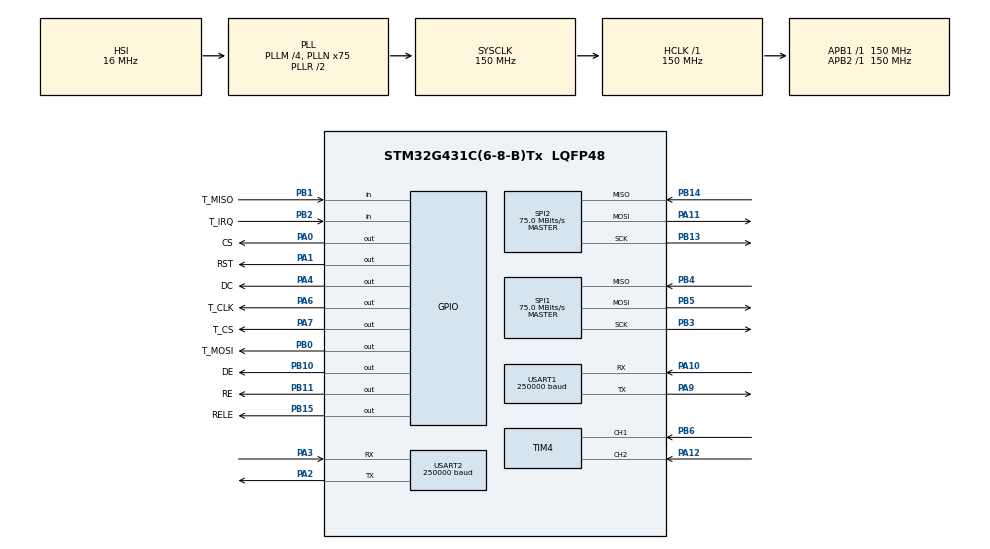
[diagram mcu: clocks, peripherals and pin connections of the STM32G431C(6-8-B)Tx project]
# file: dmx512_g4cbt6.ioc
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Mcu.Family=STM32G4
Mcu.Name=STM32G431C(6-8-B)Tx
Mcu.Package=LQFP48
NVIC.PriorityGroup=NVIC_PRIORITYGROUP_4
NVIC.TIM3_IRQn=true\:0\:0\:false\:false\:true\:true\:true\:true
NVIC.TIM6_DAC_IRQn=true\:0\:0\:false\:false\:true\:true\:true\:true
NVIC.TIM7_IRQn=true\:0\:0\:false\:false\:true\:true\:true\:true
NVIC.USART1_IRQn=true\:0\:0\:false\:false\:true\:true\:true\:true
NVIC.USART2_IRQn=true\:0\:0\:false\:false\:true\:true\:true\:true
PA0.GPIO_Label=CS
PA0.GPIO_Speed=GPIO_SPEED_FREQ_VERY_HIGH
PA0.Signal=GPIO_Output
PA1.GPIO_Label=RST
PA1.GPIO_Speed=GPIO_SPEED_FREQ_VERY_HIGH
PA1.Signal=GPIO_Output
PA10.GPIO_Speed=GPIO_SPEED_FREQ_MEDIUM
PA10.Mode=Asynchronous
PA10.Signal=USART1_RX
PA11.Mode=Full_Duplex_Master
PA11.Signal=SPI2_MOSI
PA12.Signal=S_TIM4_CH2
PA13.Mode=Serial_Wire
PA13.Signal=SYS_JTMS-SWDIO
PA14.Mode=Serial_Wire
PA14.Signal=SYS_JTCK-SWCLK
PA2.GPIO_PuPd=GPIO_NOPULL
PA2.GPIO_Speed=GPIO_SPEED_FREQ_MEDIUM
PA2.Mode=Asynchronous
PA2.Signal=USART2_TX
PA3.GPIO_PuPd=GPIO_NOPULL
PA3.GPIO_Speed=GPIO_SPEED_FREQ_MEDIUM
PA3.Mode=Asynchronous
PA3.Signal=USART2_RX
PA4.GPIO_Label=DC
PA4.GPIO_Speed=GPIO_SPEED_FREQ_VERY_HIGH
PA4.Signal=GPIO_Output
PA6.GPIO_Label=T_CLK
PA6.GPIO_Speed=GPIO_SPEED_FREQ_VERY_HIGH
PA6.Signal=GPIO_Output
PA7.GPIO_Label=T_CS
PA7.Signal=GPIO_Output
PA9.GPIO_Speed=GPIO_SPEED_FREQ_MEDIUM
PA9.Mode=Asynchronous
PA9.Signal=USART1_TX
PB0.GPIO_Label=T_MOSI
PB0.GPIO_Speed=GPIO_SPEED_FREQ_VERY_HIGH
PB0.Signal=GPIO_Output
PB1.GPIO_Label=T_MISO
PB1.Signal=GPIO_Input
PB10.GPIO_Label=DE
PB10.Signal=GPIO_Output
PB11.GPIO_Label=RE
PB11.Signal=GPIO_Output
PB12.Signal=SPI2_NSS
PB13.Mode=Full_Duplex_Master
PB13.Signal=SPI2_SCK
PB14.Mode=Full_Duplex_Master
PB14.Signal=SPI2_MISO
PB15.GPIO_Label=RELE
PB15.Signal=GPIO_Output
PB2.GPIO_Label=T_IRQ
PB2.Signal=GPIO_Input
PB3.GPIO_Speed=GPIO_SPEED_FREQ_HIGH
PB3.Mode=Full_Duplex_Master
PB3.Signal=SPI1_SCK
PB4.GPIO_Speed=GPIO_SPEED_FREQ_HIGH
PB4.Mode=Full_Duplex_Master
PB4.Signal=SPI1_MISO
PB5.GPIO_Speed=GPIO_SPEED_FREQ_HIGH
PB5.Mode=Full_Duplex_Master
PB5.Signal=SPI1_MOSI
PB6.Signal=S_TIM4_CH1
PF0-OSC_IN.Mode=HSE-External-Oscillator
PF0-OSC_IN.Signal=RCC_OSC_IN
PF1-OSC_OUT.Mode=HSE-External-Oscillator
PF1-OSC_OUT.Signal=RCC_OSC_OUT
ProjectManager.HeapSize=0x200
ProjectManager.StackSize=0x400
ProjectManager.TargetToolchain=STM32CubeIDE
RCC.ADC12Freq_Value=150000000
RCC.AHBFreq_Value=150000000
RCC.APB1Freq_Value=150000000
RCC.APB1TimFreq_Value=150000000
RCC.APB2Freq_Value=150000000
RCC.APB2TimFreq_Value=150000000
RCC.CortexFreq_Value=150000000
RCC.EXTERNAL_CLOCK_VALUE=12288000
RCC.HCLKFreq_Value=150000000
RCC.HSE_VALUE=8000000
RCC.HSI48_VALUE=48000000
RCC.HSI_VALUE=16000000
RCC.LSE_VALUE=32768
RCC.PLLM=RCC_PLLM_DIV4
RCC.PLLN=75
RCC.SYSCLKFreq_VALUE=150000000
RCC.SYSCLKSource=RCC_SYSCLKSOURCE_PLLCLK
RCC.USBFreq_Value=150000000
RCC.VCOOutputFreq_Value=300000000
SH.S_TIM4_CH1.0=TIM4_CH1,Encoder_Interface
SH.S_TIM4_CH2.0=TIM4_CH2,Encoder_Interface
SPI1.CalculateBaudRate=75.0 MBits/s
SPI1.DataSize=SPI_DATASIZE_8BIT
SPI1.Direction=SPI_DIRECTION_2LINES
SPI1.Mode=SPI_MODE_MASTER
SPI1.VirtualType=VM_MASTER
SPI2.CalculateBaudRate=75.0 MBits/s
SPI2.Direction=SPI_DIRECTION_2LINES
SPI2.Mode=SPI_MODE_MASTER
SPI2.VirtualType=VM_MASTER
TIM3.PeriodNoDither=22
TIM3.Prescaler=100
TIM6.PeriodNoDither=200
TIM6.Prescaler=100
TIM7.PeriodNoDither=100
TIM7.Prescaler=100
USART1.BaudRate=250000
USART1.StopBits=STOPBITS_2
USART1.VirtualMode-Asynchronous=VM_ASYNC
USART2.AutoBaudRateEnableParam=UART_ADVFEATURE_AUTOBAUDRATE_DISABLE
USART2.BaudRate=250000
USART2.StopBits=STOPBITS_2
USART2.VirtualMode-Asynchronous=VM_ASYNC
VP_SYS_VS_DBSignals.Mode=DisableDeadBatterySignals
VP_TIM3_VS_ClockSourceINT.Mode=Internal
VP_TIM6_VS_ClockSourceINT.Mode=Enable_Timer
VP_TIM7_VS_ClockSourceINT.Mode=Enable_Timer
board=custom

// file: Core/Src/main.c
/* USER CODE BEGIN Header */
/**
  ******************************************************************************
  * @file           : main.c
  * @brief          : Main program body
  ******************************************************************************
  * @attention
  *
  * Copyright (c) 2024 STMicroelectronics.
  * All rights reserved.
  *
  * This software is licensed under terms that can be found in the LICENSE file
  * in the root directory of this software component.
  * If no LICENSE file comes with this software, it is provided AS-IS.
  *
  ******************************************************************************
  */
/* USER CODE END Header */
#include "main.h"
#include "spi.h"
#include "tim.h"
#include "usart.h"
#include "gpio.h"

/* USER CODE BEGIN Includes */
#include "ILI9341_Touchscreen.h"
#include "ILI9341_STM32_Driver.h"
#include "ILI9341_GFX.h"
/* USER CODE END Includes */

void SystemClock_Config(void);

/* USER CODE BEGIN 0 */
volatile uint8_t receiveBuff[514]; //Paket přijatý z RS485/PC
volatile uint8_t sendToPC[520]; //paket pro zpracování PC aplikací
volatile uint8_t sendToDMX[513]; //standardní paket na RS485 rozhraní
uint8_t packetsSentAfterStart=0; //přepsat na uint8_t
int toReceive=514; //přepsat na uint16_t
uint8_t receiveMode=5;
UART_HandleTypeDef *uartRx; //výběr přijímacího uartu
uint8_t menuNav;
uint16_t valueOffset;
char str[10];
uint8_t sendingToDMX;

//Displej:
//int xmin;
//int xmax;
//int ymin;
//int ymax;
/* USER CODE END 0 */

int main(void)
{

  /* USER CODE BEGIN 1 */
	for(int i=0;i<514;i++)
		{
			receiveBuff[i]=0;
		}

	for(int i=0;i<520;i++)
		{
			sendToPC[i]=0;
		}
	sendToPC[0]=121; //Nastavení vlastního protokolu
	sendToPC[1]=122;
	sendToPC[518]=131;
	sendToPC[519]=132;

	for(int i=0;i<513;i++)
		{
			sendToDMX[i]=0;
		}

  /* USER CODE END 1 */

  /* MCU Configuration--------------------------------------------------------*/

  /* Reset of all peripherals, Initializes the Flash interface and the Systick. */
  HAL_Init();

  /* Configure the system clock */
  SystemClock_Config();

  /* Initialize all configured peripherals */
  MX_GPIO_Init();
  MX_SPI1_Init();
  MX_SPI2_Init();
  MX_TIM4_Init();
  MX_USART1_UART_Init();
  MX_USART2_UART_Init();
  MX_TIM6_Init();
  MX_TIM7_Init();
  MX_TIM3_Init();
  /* USER CODE BEGIN 2 */
  //ReceiveFrom_PC();
  //ReceiveFrom_DMX();
  ILI9341_Init();
  stopAll();
  uint16_t position_array[2];

  Draw_MainMenu1_Horizontal();
  menuNav=1;
  /* USER CODE END 2 */

  /* Infinite loop */
  /* USER CODE BEGIN WHILE */
while (1)
	{
	if(TP_Touchpad_Pressed())
	{
		uint16_t x_pos = 0;
		uint16_t y_pos = 0;

		if(TP_Read_Coordinates(position_array) == TOUCHPAD_DATA_OK)
		{
			x_pos = -(position_array[1]-320);
			y_pos = position_array[0];

			if(x_pos>250&&y_pos>205&&x_pos<320&&y_pos<240&&menuNav==1) //Vpřed MainMenu
			{
				Draw_MainMenu2_Horizontal();
			}
			if(x_pos>0&&y_pos>205&&x_pos<70&&y_pos<240&&menuNav==2) //Zpátky MainMenu
			{
				Draw_MainMenu1_Horizontal();
			}
			if(x_pos>20&&y_pos>29&&x_pos<300&&y_pos<79&&menuNav==1)
			{
				menuNav=3;
				ILI9341_Fill_Screen(DARKGREY);
				Draw_NavigationBar_Left_Horizontal();
				ILI9341_Draw_Text("Analyza signalu", 3, 1, BLACK, 2, DARKGREY);
				ILI9341_Draw_Text("Rezim analyzy je zapnuty,", 5, 60, BLACK, 2, RED);
				ILI9341_Draw_Text("Pokracujte v PC aplikaci", 5, 85, BLACK, 2, RED);
				setTo_Analyze();
			}
			if(x_pos>20&&y_pos>85&&x_pos<300&&y_pos<135&&menuNav==1)
			{
				menuNav=3;
				ILI9341_Fill_Screen(DARKGREY);
				Draw_NavigationBar_Left_Horizontal();
				ILI9341_Draw_Text("Generovani signalu", 3, 1, BLACK, 2, DARKGREY);
				ILI9341_Draw_Text("Rezim generovani", 5, 60, BLACK, 2, RED);
				ILI9341_Draw_Text("je zapnuty,", 5, 80, BLACK, 2, RED);
				ILI9341_Draw_Text("Pokracujte v PC aplikaci", 5, 105, BLACK, 2, RED);
				setTo_GenerateOnPC();
			}
			if(x_pos>20&&y_pos>141&&x_pos<300&&y_pos<191&&menuNav==1)
			{
				menuNav=3;
				ILI9341_Fill_Screen(DARKGREY);
				Draw_NavigationBar_Left_Horizontal();
				ILI9341_Draw_Text("Modifikace signalu", 3, 1, BLACK, 2, DARKGREY);
				ILI9341_Draw_Text("Rezim modifikace", 5, 60, BLACK, 2, RED);
				ILI9341_Draw_Text("je zapnuty,", 5, 80, BLACK, 2, RED);
				ILI9341_Draw_Text("PC aplikace", 5, 105, BLACK, 2, RED);
				ILI9341_Draw_Text("jej zatim nepodporuje", 5, 125, BLACK, 2, RED);
				setTo_Modification();
			}
			if(x_pos>20&&y_pos>29&&x_pos<300&&y_pos<79&&menuNav==2) //Manualni ovladani page1
			{
				valueOffset=0;
				ILI9341_Fill_Screen(LIGHTGREY);
				Draw_NavigationBar_Left_Horizontal();
				ILI9341_Draw_Text("Manualni analyza", 3, 1, BLACK, 2, LIGHTGREY);
				Draw_NavigationBar_Right_Horizontal();
				char page[7];
				sprintf(page, " %d/29 ", valueOffset+1);
				ILI9341_Draw_Text(page, 136, 220, BLACK, 2, LIGHTGREY);
				menuNav=5;
				setTo_AnalyzeLocally();
			}
			if(x_pos>250&&y_pos>205&&x_pos<320&&y_pos<240&&menuNav==5) //Manualni ovladani page2-29
			{
				if(valueOffset<495)
				{
					valueOffset+=18;
					ILI9341_Draw_Text("     ", 140, 195, BLACK, 2, LIGHTGREY);
					char page[7];
					sprintf(page, " %d/29 ", valueOffset/18+1);
					ILI9341_Draw_Text(page, 133, 220, BLACK, 2, LIGHTGREY);
					HAL_Delay(90);
				}
				else
				{
					ILI9341_Fill_Screen(LIGHTGREY);
					Draw_NavigationBar_Left_Horizontal();
					ILI9341_Draw_Text("Manualni analyza", 3, 1, BLACK, 2, LIGHTGREY);
					//Draw_NavigationBar_Right_Horizontal(); //smazat
					char page[7];
					sprintf(page, " %d/29 ", valueOffset/18+1);
					ILI9341_Draw_Text(page, 133, 220, BLACK, 2, LIGHTGREY);
					HAL_Delay(90);
				}
			}
			if(x_pos>20&&y_pos>85&&x_pos<300&&y_pos<135&&menuNav==2)
			{
				menuNav=10;
				ILI9341_Fill_Screen(DARKGREY);
				Draw_NavigationBar_Left_Horizontal();
				ILI9341_Draw_Text("Manualni generovani", 3, 1, BLACK, 2, DARKGREY);
				ILI9341_Draw_Rectangle(20,40,80,80,RED);
				ILI9341_Draw_Rectangle(120,40,80,80,GREEN);
				ILI9341_Draw_Rectangle(220,40,80,80,BLUE);
				setTo_GenerateLocally();
				HAL_Delay(300);
			}
			if(x_pos>0&&y_pos>205&&x_pos<70&&y_pos<240&&menuNav==3) //Zpátky do page1 menu z podmenu
			{
				menuNav=1;
				Draw_MainMenu1_Horizontal();
				stopAll();
			}
			if(x_pos>0&&y_pos>205&&x_pos<70&&y_pos<240&&menuNav==4) //Zpátky do page2 menu z podmenu
			{
				menuNav=2;
				Draw_MainMenu2_Horizontal();
				stopAll();
			}
			if(x_pos>0&&y_pos>205&&x_pos<70&&y_pos<240&&menuNav==10) //Zpátky do page2 menu z podmenu
			{
				menuNav=2;
				Draw_MainMenu2_Horizontal();
				stopAll();
			}
			if(x_pos>20&&y_pos>40&&x_pos<100&&y_pos<120&&menuNav==10) //BarvaRed v manualnim generovani
			{
				ILI9341_Draw_Hollow_Rectangle_Coord(18,38,101,121,BLACK);
				ILI9341_Draw_Hollow_Rectangle_Coord(118,38,201,121,DARKGREY);
				ILI9341_Draw_Hollow_Rectangle_Coord(218,38,301,121,DARKGREY);
				sendToDMX[1]=255;
				sendToDMX[2]=255;
				sendToDMX[3]=0;
				sendToDMX[4]=0;
			}
			if(x_pos>120&&y_pos>40&&x_pos<200&&y_pos<120&&menuNav==10) //BarvaGreen v manualnim generovani
			{
				ILI9341_Draw_Hollow_Rectangle_Coord(18,38,101,121,DARKGREY);
				ILI9341_Draw_Hollow_Rectangle_Coord(118,38,201,121,BLACK);
				ILI9341_Draw_Hollow_Rectangle_Coord(218,38,301,121,DARKGREY);
				sendToDMX[1]=255;
				sendToDMX[2]=0;
				sendToDMX[3]=255;
				sendToDMX[4]=0;
			}
			if(x_pos>220&&y_pos>40&&x_pos<300&&y_pos<120&&menuNav==10) //BarvaBlue v manualnim generovani
			{
				ILI9341_Draw_Hollow_Rectangle_Coord(18,38,101,121,DARKGREY);
				ILI9341_Draw_Hollow_Rectangle_Coord(118,38,201,121,DARKGREY);
				ILI9341_Draw_Hollow_Rectangle_Coord(218,38,301,121,BLACK);
				sendToDMX[1]=255;
				sendToDMX[2]=0;
				sendToDMX[3]=0;
				sendToDMX[4]=255;
			}
			if(x_pos>0&&y_pos>205&&x_pos<70&&y_pos<240&&menuNav==5) //Zpátky SUB menu
						{
							if(valueOffset==0)
							{
								menuNav=2;
								Draw_MainMenu2_Horizontal();
								stopAll();
							}
							else
							{
								valueOffset-=18;
								char page[7];
								sprintf(page, " %d/29 ", valueOffset/18+1);
								ILI9341_Draw_Text(page, 133, 220, BLACK, 2, LIGHTGREY);
								HAL_Delay(90);
								//stopAll();
							}
						}
	  }
}

    /* USER CODE END WHILE */

  }
}

void SystemClock_Config(void)
{
  RCC_OscInitTypeDef RCC_OscInitStruct = {0};
  RCC_ClkInitTypeDef RCC_ClkInitStruct = {0};

  /** Configure the main internal regulator output voltage
  */
  HAL_PWREx_ControlVoltageScaling(PWR_REGULATOR_VOLTAGE_SCALE1);

  /** Initializes the RCC Oscillators according to the specified parameters
  * in the RCC_OscInitTypeDef structure.
  */
  RCC_OscInitStruct.OscillatorType = RCC_OSCILLATORTYPE_HSI;
  RCC_OscInitStruct.HSIState = RCC_HSI_ON;
  RCC_OscInitStruct.HSICalibrationValue = RCC_HSICALIBRATION_DEFAULT;
  RCC_OscInitStruct.PLL.PLLState = RCC_PLL_ON;
  RCC_OscInitStruct.PLL.PLLSource = RCC_PLLSOURCE_HSI;
  RCC_OscInitStruct.PLL.PLLM = RCC_PLLM_DIV4;
  RCC_OscInitStruct.PLL.PLLN = 75;
  RCC_OscInitStruct.PLL.PLLP = RCC_PLLP_DIV2;
  RCC_OscInitStruct.PLL.PLLQ = RCC_PLLQ_DIV2;
  RCC_OscInitStruct.PLL.PLLR = RCC_PLLR_DIV2;
  if (HAL_RCC_OscConfig(&RCC_OscInitStruct) != HAL_OK)
  {
    Error_Handler();
  }

  /** Initializes the CPU, AHB and APB buses clocks
  */
  RCC_ClkInitStruct.ClockType = RCC_CLOCKTYPE_HCLK|RCC_CLOCKTYPE_SYSCLK
                              |RCC_CLOCKTYPE_PCLK1|RCC_CLOCKTYPE_PCLK2;
  RCC_ClkInitStruct.SYSCLKSource = RCC_SYSCLKSOURCE_PLLCLK;
  RCC_ClkInitStruct.AHBCLKDivider = RCC_SYSCLK_DIV1;
  RCC_ClkInitStruct.APB1CLKDivider = RCC_HCLK_DIV1;
  RCC_ClkInitStruct.APB2CLKDivider = RCC_HCLK_DIV1;

  if (HAL_RCC_ClockConfig(&RCC_ClkInitStruct, FLASH_LATENCY_4) != HAL_OK)
  {
    Error_Handler();
  }
}

/* USER CODE BEGIN 4 */
void SwitchToTransmit()
{
	HAL_GPIO_WritePin(GPIOB, GPIO_PIN_15, GPIO_PIN_SET);
}
void SwitchToReceiveOnly()
{
	HAL_GPIO_WritePin(GPIOB, GPIO_PIN_15, GPIO_PIN_RESET);
}
void HAL_UARTEx_RxEventCallback(UART_HandleTypeDef *huart, uint16_t Size) //Po prijmuti celeho paketu:
{
	//Ukladani dat pro vysilani na DMX512 na zaklade toho, odkud byly prijate
	if(receiveMode==1) //Z PC do DMX
	{
		memcpy(sendToDMX, receiveBuff, 513 * sizeof(uint8_t)); //TODO: Vymyslet možnost bez kopírování (změna buffu přímo v čtecích příkazech, pointerem); bylo by využitelné pouze pro tuto funkci -> tudíž to nemá smysl (asi by to nebylo přehlednější)
	}
	else if(receiveMode==2)//receiveMode==2 //Z DMX do DMX
	{
		/*for(int i=0; i<513; i++) //Pro UART2 příjem (vyzkoušet pak s jinými pulty)
		{
			sendToDMX[i]=receiveBuff[i+1]; //+1 pro uart2 TODO:memcpy(&a1[50], &a2[50], 10 * sizeof a[0]);
		}*/
		memcpy(&sendToDMX[0], &receiveBuff[1], 513 * sizeof(uint8_t));
	}
	HAL_UARTEx_ReceiveToIdle_IT(uartRx, receiveBuff, toReceive);
	if(menuNav==5) //GUI
	{
		if(valueOffset<495)
		{

			for(int a=0;a<16;a+=3)
			{
				sprintf(str, "%d:%d  ", valueOffset+1+a, receiveBuff[valueOffset+2+a]);
				ILI9341_Draw_Text(str, 5, 20+(a*10), BLACK, 2, LIGHTGREY);
				sprintf(str, "%d:%d  ", valueOffset+2+a, receiveBuff[valueOffset+3+a]);
				ILI9341_Draw_Text(str, 120, 20+(a*10), BLACK, 2, LIGHTGREY);
				sprintf(str, "%d:%d  ", valueOffset+3+a, receiveBuff[valueOffset+4+a]);
				ILI9341_Draw_Text(str, 230, 20+(a*10), BLACK, 2, LIGHTGREY);
			}
		}
		else
		{
			for(int a=0;a<6;a+=3)
			{
				sprintf(str, "%d:%d  ", valueOffset+1+a, receiveBuff[valueOffset+2+a]);
				ILI9341_Draw_Text(str, 5, 20+(a*10), BLACK, 2, LIGHTGREY);
				sprintf(str, "%d:%d  ", valueOffset+2+a, receiveBuff[valueOffset+3+a]);
				ILI9341_Draw_Text(str, 120, 20+(a*10), BLACK, 2, LIGHTGREY);
				sprintf(str, "%d:%d  ", valueOffset+3+a, receiveBuff[valueOffset+4+a]);
				ILI9341_Draw_Text(str, 230, 20+(a*10), BLACK, 2, LIGHTGREY);
			}
			sprintf(str, "%d:%d  ", 511, receiveBuff[512]);
			ILI9341_Draw_Text(str, 5, 20+(6*10), BLACK, 2, LIGHTGREY);
			sprintf(str, "%d:%d  ", 512, receiveBuff[513]);
			ILI9341_Draw_Text(str, 120, 20+(6*10), BLACK, 2, LIGHTGREY);
			ILI9341_Draw_Text("       ", 230, 20+(6*10), BLACK, 2, LIGHTGREY);
			for(int a=9;a<16;a+=3)
			{
				ILI9341_Draw_Text("       ", 5, 20+(a*10), BLACK, 2, LIGHTGREY);
				ILI9341_Draw_Text("       ", 120, 20+(a*10), BLACK, 2, LIGHTGREY);
				ILI9341_Draw_Text("       ", 230, 20+(a*10), BLACK, 2, LIGHTGREY);
			}
		}
		if(valueOffset==0)
		{
			sprintf(str, "%d:%d  ", 0, receiveBuff[1]);
			ILI9341_Draw_Text(str, 140, 195, BLACK, 2, LIGHTGREY);
		}
	}
}
void HAL_UART_TxCpltCallback(UART_HandleTypeDef *huart) //Po odeslání -- pokud uart2 -> přepnout na IDLE; pokud uart 1 -> nic
{

	if(huart==&huart2&&sendingToDMX==1)
	{
		if(packetsSentAfterStart<10) //ošetřuje chybu kdy po prvním startu odešle signál ve stavu tak, že ho druhá deska nenajde -> odesílá prvních 10 paketů v blokovacím režimu; netýkalo se rozpojení a zapojení signálu
		{
			SwitchPin_ToMode_GPIO_Output();
			HAL_GPIO_WritePin(GPIOA, GPIO_PIN_2,GPIO_PIN_SET);
			uint32_t i;
			i=1000;
			while(i--); //MBB - v blokovacím režimu
			HAL_UARTEx_ReceiveToIdle_IT(uartRx, receiveBuff, toReceive); //Aby se přijímal sinál i se spuštěním zařízení a po zapojení kabelu
			//HAL_GPIO_WritePin(GPIOA, GPIO_PIN_2,GPIO_PIN_SET);
			HAL_GPIO_WritePin(GPIOA, GPIO_PIN_2,GPIO_PIN_RESET);
			HAL_TIM_Base_Start_IT(&htim6);
			packetsSentAfterStart++;
		}
		else //Pro všechny další chody v neblokovacím režimu
		{
			SwitchPin_ToMode_GPIO_Output();
			HAL_GPIO_WritePin(GPIOA, GPIO_PIN_2,GPIO_PIN_SET); //Tvoří MBB
			HAL_TIM_Base_Start_IT(&htim7);
			HAL_UARTEx_ReceiveToIdle_IT(uartRx, receiveBuff, 514); //Aby se přijímal sinál i se spuštěním zařízení a po zapojení kabelu
		}
	}
}
void HAL_TIM_PeriodElapsedCallback(TIM_HandleTypeDef* htim) //Po doběhnutí časovače
{
	if(htim==&htim6)
	{
		//uint32_t i;
		HAL_TIM_Base_Stop_IT(&htim6);
		HAL_GPIO_WritePin(GPIOA, GPIO_PIN_2,GPIO_PIN_SET);
		//Zde se vytváří MAB

		HAL_TIM_Base_Start_IT(&htim3);

	}
	else if(htim==&htim7)
	{
		HAL_TIM_Base_Stop_IT(&htim7);
		HAL_GPIO_WritePin(GPIOA, GPIO_PIN_2,GPIO_PIN_RESET);
		HAL_TIM_Base_Start_IT(&htim6);
	}
	else if(htim==&htim3)
	{
		HAL_TIM_Base_Stop_IT(&htim3);
		SwitchPin_ToMode_UART();
		HAL_UART_Transmit_IT(&huart2, sendToDMX, 513); //TODO: sizeof(receiveBuff)
		if(receiveMode==3)
		{
			memcpy(&sendToPC[2], &receiveBuff[1], 513 * sizeof(uint8_t)); //kopírování
			HAL_UART_Transmit_IT(&huart1, sendToPC, 520); //Odeslání do PC - samostatnej timer
		}
	}

}

void ReceiveFrom_PC() {
    uartRx = &huart1;
    //receiveMode=1;
    toReceive=513;
}
void ReceiveFrom_DMX() {
    uartRx = &huart2;
    //receiveMode=2;
    toReceive=514;
}

void setTo_Analyze()
{
	ReceiveFrom_DMX(); //Nastaví příjem z DMX
	receiveMode=3; //Nastaví odesílání přijatých dat doPC
	//SwitchToReceiveOnly(); //Rozpojí relé
	sendingToDMX=1;
	HAL_UART_Transmit_IT(&huart2, sendToDMX, 513);

}
void setTo_GenerateOnPC()
{
	ReceiveFrom_PC(); //Nastaví příjem z PC
	SwitchToTransmit(); //Propojí relé
	sendingToDMX=1; //Povolí odesílání na DMX
	receiveMode=1; // Nastaví přijímání dat z PC a odesílání do DMX
	HAL_UARTEx_ReceiveToIdle_IT(uartRx, receiveBuff, toReceive); //Započne přijímání z PC
	HAL_UART_Transmit_IT(&huart2, sendToDMX, 513); //Započne odesílání na DMX
}
void setTo_Modification()
{

}
void setTo_AnalyzeLocally() //Nevysílá data
{
	menuNav=5;
	ReceiveFrom_DMX(); //Nastaví příjem z DMX
	receiveMode=4;
	sendingToDMX=1;
	HAL_UART_Transmit_IT(&huart2, sendToDMX, 513); //Započne odesílání na DMX
}
void setTo_GenerateLocally() //Nepřijímá data
{
	SwitchToTransmit(); //Propojí relé
	sendingToDMX=1; //Povolí odesílání na DMX
	receiveMode=5; // Nastaví přijímání dat z PC a odesílání do DMX
	HAL_UARTEx_ReceiveToIdle_IT(uartRx, receiveBuff, toReceive); //Započne přijímání z PC
	HAL_UART_Transmit_IT(&huart2, sendToDMX, 513); //Započne odesílání na DMX
}
void stopAll()
{
	//HAL_TIM_Base_Stop_IT(&htim2); //Zastaví odesílání do PC
	sendingToDMX=0; //Ukončí odesílání na DMX
	receiveMode=5; //Ukončí příjem dat
	SwitchToReceiveOnly(); //Rozpojí relé
	packetsSentAfterStart=0; //Snuluje bugfix
	for(int i=0;i<513;i++)
		{
			sendToDMX[i]=0;
		}
	for(int i=0;i<520;i++)
		{
			sendToPC[i]=0;
		}
	for(int i=0;i<520;i++)
		{
			sendToPC[i]=0;
		}
	sendToPC[0]=121; //Nastavení vlastního protokolu
	sendToPC[1]=122;
	sendToPC[518]=131;
	sendToPC[519]=132;
}

void SwitchPin_ToMode_GPIO_Output(void) //TODO: přidat nastaveni PINu k prepnuti
{
    GPIO_InitTypeDef GPIO_Initialize;
    GPIO_Initialize.Pin = GPIO_PIN_2;
    GPIO_Initialize.Mode = GPIO_MODE_OUTPUT_PP;
    //GPIO_Initialize.Pull = GPIO_PULLUP;
    GPIO_Initialize.Speed = GPIO_SPEED_FREQ_MEDIUM;
    HAL_GPIO_Init(GPIOA, &GPIO_Initialize);
}
void SwitchPin_ToMode_UART(void)
{
    GPIO_InitTypeDef GPIO_Initialize;
    GPIO_Initialize.Pin = GPIO_PIN_2;
    GPIO_Initialize.Mode = GPIO_MODE_AF_PP;  //Alternate function
    //GPIO_Initialize.Pull = GPIO_PULLUP;
    GPIO_Initialize.Alternate = GPIO_AF7_USART2; //Musi byt pouzito pro g431
    GPIO_Initialize.Speed = GPIO_SPEED_FREQ_MEDIUM;
    HAL_GPIO_Init(GPIOA, &GPIO_Initialize);
}
void Draw_MainMenu(void)
{
	ILI9341_Fill_Screen(DARKGREY);
	ILI9341_Draw_Text("DMX512 ANALYZATOR", 18, 5, BLACK, 2, DARKGREY);
	ILI9341_Draw_Filled_Rectangle_Coord(10, 24, 230, 64, LIGHTGREY);
	ILI9341_Draw_Text("Analyza signalu", 27, 34, BLACK, 2, LIGHTGREY);
	ILI9341_Draw_Filled_Rectangle_Coord(10, 70, 230, 110, LIGHTGREY);
	ILI9341_Draw_Text("Generovani signalu", 12, 80, BLACK, 2, LIGHTGREY);
	ILI9341_Draw_Filled_Rectangle_Coord(10, 116, 230, 156, LIGHTGREY);
	ILI9341_Draw_Text("Modifikace signalu", 12, 126, BLACK, 2, LIGHTGREY);
	ILI9341_Draw_Filled_Rectangle_Coord(10, 162, 230, 202, LIGHTGREY);
	ILI9341_Draw_Text("Manualni analyza", 22, 172, BLACK, 2, LIGHTGREY);
	ILI9341_Draw_Filled_Rectangle_Coord(10, 208, 230, 248, LIGHTGREY);
	ILI9341_Draw_Text("Manualni gen.", 38, 218, BLACK, 2, LIGHTGREY);
}
void Draw_MainMenu1_Horizontal(void)
{
	menuNav=1;
	ILI9341_Set_Rotation(SCREEN_HORIZONTAL_2);
	ILI9341_Fill_Screen(DARKGREY);
	ILI9341_Draw_Text("DMX512 ANALYZATOR", 10, 5, BLACK, 2, DARKGREY);
	ILI9341_Draw_Filled_Rectangle_Coord(20, 29, 300, 79, LIGHTGREY); //+10
	ILI9341_Draw_Text("Analyza signalu", 68, 44, BLACK, 2, LIGHTGREY); //+5
	ILI9341_Draw_Filled_Rectangle_Coord(20, 85, 300, 135, LIGHTGREY);
	ILI9341_Draw_Text("Generovani signalu", 48, 100, BLACK, 2, LIGHTGREY);
	ILI9341_Draw_Filled_Rectangle_Coord(20, 141, 300, 191, LIGHTGREY);
	ILI9341_Draw_Text("Modifikace signalu", 48, 156, BLACK, 2, LIGHTGREY);
	ILI9341_Draw_Text("1/2", 145, 220, BLACK, 2, DARKGREY);
	Draw_NavigationBar_Right_Horizontal();
}
void Draw_MainMenu2_Horizontal(void)
{
	menuNav=2;
	ILI9341_Set_Rotation(SCREEN_HORIZONTAL_2);
	ILI9341_Fill_Screen(DARKGREY);
	ILI9341_Draw_Text("DMX512 ANALYZATOR", 10, 5, BLACK, 2, DARKGREY);
	ILI9341_Draw_Filled_Rectangle_Coord(20, 29, 300, 79, LIGHTGREY); //+10
	ILI9341_Draw_Text("Manualni analyza", 68, 44, BLACK, 2, LIGHTGREY); //+5
	ILI9341_Draw_Filled_Rectangle_Coord(20, 85, 300, 135, LIGHTGREY);
	ILI9341_Draw_Text("Manualni generovani", 45, 100, BLACK, 2, LIGHTGREY);
	ILI9341_Draw_Text("2/2", 145, 220, BLACK, 2, DARKGREY);
	Draw_NavigationBar_Left_Horizontal();
}
void Draw_NavigationBar_Left(void)
{
	ILI9341_Draw_Filled_Rectangle_Coord(0, 280, 50, 320, LIGHTGREY);
	ILI9341_Draw_Text("<-", 20, 290, BLACK, 2, DARKGREY);
}
void Draw_NavigationBar_Right(void)
{
	ILI9341_Draw_Filled_Rectangle_Coord(190, 280, 240, 320, LIGHTGREY);
	ILI9341_Draw_Text("->",210 , 290, BLACK, 2, DARKGREY);
}
void Draw_NavigationBar_Left_Horizontal(void)
{
	ILI9341_Draw_Filled_Rectangle_Coord(0, 205, 70, 240, LIGHTGREY);
	ILI9341_Draw_Text("<-", 25, 214, BLACK, 2, DARKGREY);
}
void Draw_NavigationBar_Right_Horizontal(void)
{
	ILI9341_Draw_Filled_Rectangle_Coord(250, 205, 320, 240, LIGHTGREY);
	ILI9341_Draw_Text("->",275 , 214, BLACK, 2, DARKGREY);
}
/* USER CODE END 4 */

void Error_Handler(void)
{
  __disable_irq();
  while (1)
  {
  }
}
